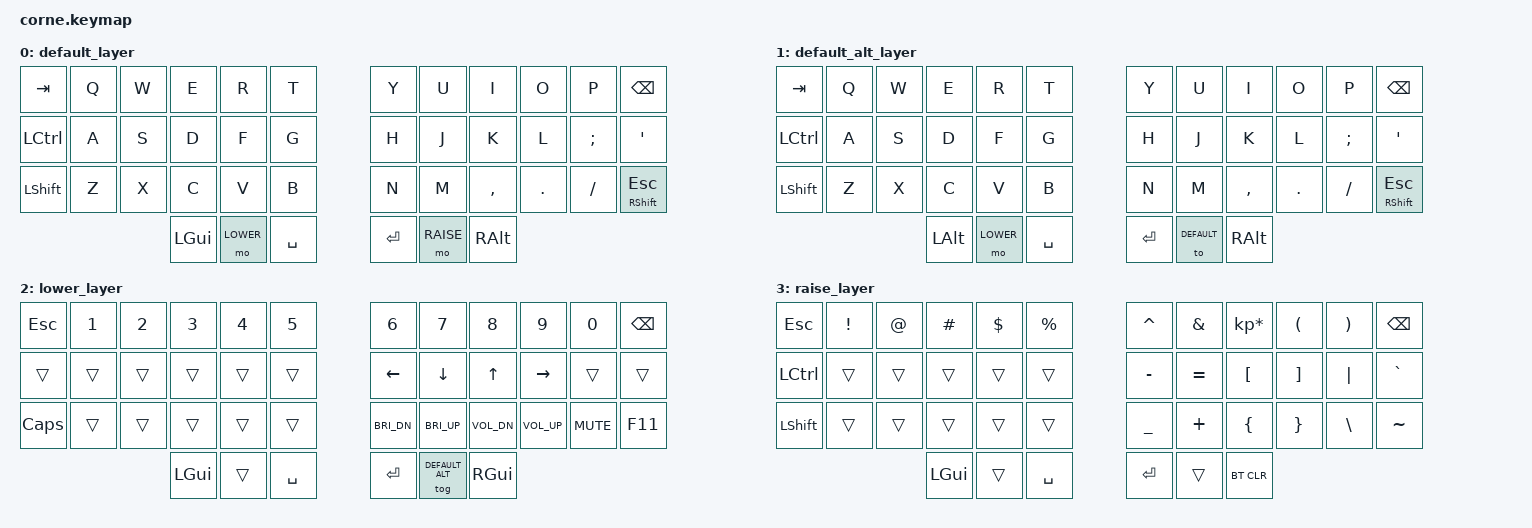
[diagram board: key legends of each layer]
/*
 * Copyright (c) 2020 The ZMK Contributors
 *
 * SPDX-License-Identifier: MIT
 */

#include <behaviors.dtsi>
#include <dt-bindings/zmk/keys.h>
#include <dt-bindings/zmk/bt.h>

#define DEFAULT     0
#define DEFAULT_ALT 1
#define LOWER       2
#define RAISE       3

/ {
        keymap {
                compatible = "zmk,keymap";

                default_layer {
                        bindings = <
   &kp TAB   &kp Q &kp W &kp E &kp R &kp T       &kp Y &kp U  &kp I     &kp O   &kp P    &kp BSPC
   &kp LCTRL &kp A &kp S &kp D &kp F &kp G       &kp H &kp J  &kp K     &kp L   &kp SEMI &kp SQT
   &kp LSHFT &kp Z &kp X &kp C &kp V &kp B       &kp N &kp M  &kp COMMA &kp DOT &kp FSLH &mt RSHFT ESC
                  &kp LGUI &mo LOWER &kp SPACE   &kp RET &mo RAISE &kp RALT
                        >;
                };

                default_alt_layer {
                        bindings = <
   &kp TAB   &kp Q &kp W &kp E &kp R &kp T       &kp Y &kp U  &kp I     &kp O   &kp P    &kp BSPC
   &kp LCTRL &kp A &kp S &kp D &kp F &kp G       &kp H &kp J  &kp K     &kp L   &kp SEMI &kp SQT
   &kp LSHFT &kp Z &kp X &kp C &kp V &kp B       &kp N &kp M  &kp COMMA &kp DOT &kp FSLH &mt RSHFT ESC
                  &kp LALT &mo LOWER &kp SPACE   &kp RET &to DEFAULT &kp RALT
                        >;
                };

                lower_layer {
                        bindings = <
   &kp ESC    &kp N1       &kp N2       &kp N3       &kp N4       &kp N5            &kp N6   &kp N7   &kp N8 &kp N9    &kp N0 &kp BSPC
   &trans &trans &trans &trans &trans &trans      &kp LEFT &kp DOWN &kp UP &kp RIGHT &trans &trans
   &kp CAPS  &trans       &trans       &trans       &trans       &trans            &kp C_BRI_DN   &kp C_BRI_UP   &kp C_VOL_DN  &kp C_VOL_UP  &kp C_MUTE &kp F11
                                        &kp LGUI     &trans       &kp SPACE         &kp RET &tog DEFAULT_ALT &kp RGUI
                        >;
                };

                raise_layer {
                        bindings = <
   &kp  ESC  &kp EXCL  &kp AT  &kp HASH  &kp DLLR  &kp PRCNT   &kp CARET &kp AMPS  &kp KP_MULTIPLY &kp LPAR &kp RPAR &kp BSPC
   &kp LCTRL &trans    &trans  &trans    &trans    &trans      &kp MINUS &kp EQUAL &kp LBKT   &kp RBKT &kp PIPE &kp GRAVE
   &kp LSHFT &trans    &trans  &trans    &trans    &trans      &kp UNDER &kp PLUS  &kp LBRC   &kp RBRC &kp BSLH &kp TILDE
                                   &kp LGUI &trans &kp SPACE   &kp RET &trans &bt BT_CLR
                        >;
                };
        };
};
